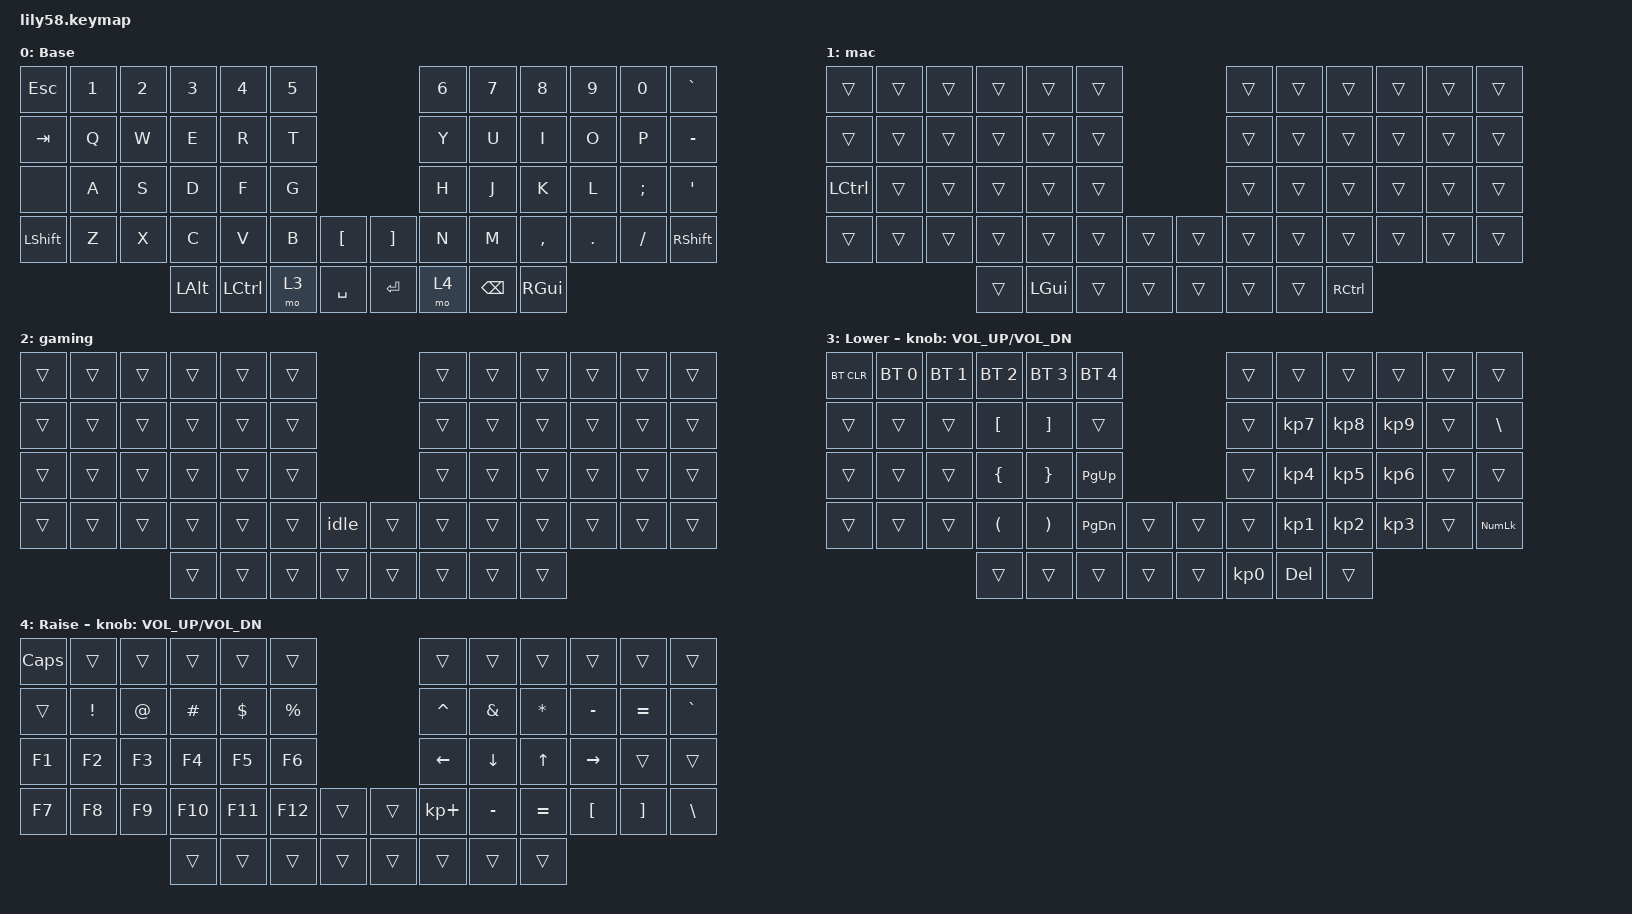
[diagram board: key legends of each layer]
/*
 * Copyright (c) 2020 The ZMK Contributors
 *
 * SPDX-License-Identifier: MIT
 */

#include <behaviors.dtsi>
#include <dt-bindings/zmk/bt.h>
#include <dt-bindings/zmk/keys.h>

/ {
    combos {
        compatible = "zmk,combos";

        windows {
            bindings = <&windows>;
            key-positions = <49 1>;
        };

        mac {
            bindings = <&mac>;
            key-positions = <49 2>;
        };

        gaming {
            bindings = <&tog 2>;
            key-positions = <49 3>;
        };
    };

    macros {
        windows: windows {
            compatible = "zmk,behavior-macro";
            #binding-cells = <0>;
            bindings = <&macro_tap>, <&to 0 &bt BT_SEL 0>;

            label = "WINDOWS";
            wait-ms = <0>;
        };

        mac: mac {
            compatible = "zmk,behavior-macro";
            #binding-cells = <0>;
            bindings = <&macro_tap>, <&tog 1 &bt BT_SEL 1>;

            label = "MAC";
        };

        idle: idle {
            compatible = "zmk,behavior-macro";
            #binding-cells = <0>;
            bindings = <&kp A &kp D &kp A &kp D &kp A &kp S &kp S &kp S &kp W &kp D &kp W &kp W &kp S &kp D &kp W &kp S &kp W &kp D &kp W &kp S &kp D &kp W &kp A &kp A &kp S &kp A &kp S &kp A &kp S &kp D &idle>;
            label = "IDLE";
            wait-ms = <2000>;
            tap-ms = <500>;
        };
    };

    keymap {
        compatible = "zmk,keymap";

        default_layer {
            // ------------------------------------------------------------------------------------------------------------
            // |  ESC  |  1  |  2  |  3   |  4   |  5   |                   |  6   |  7    |  8    |  9   |   0   |   `   |
            // |  TAB  |  Q  |  W  |  E   |  R   |  T   |                   |  Y   |  U    |  I    |  O   |   P   |   -   |
            // |  CTRL |  A  |  S  |  D   |  F   |  G   |                   |  H   |  J    |  K    |  L   |   ;   |   '   |
            // | SHIFT |  Z  |  X  |  C   |  V   |  B   |   "["  |  |  "]"  |  N   |  M    |  ,    |  .   |   /   | SHIFT |
            //                     | ALT  | GUI  | LOWER|  SPACE |  | ENTER | RAISE| BSPC  | GUI   |

            display-name = "Base";
            bindings = <
&kp ESC         &kp N1  &kp N2  &kp N3    &kp N4     &kp N5                         &kp N6  &kp N7    &kp N8     &kp N9   &kp N0    &kp GRAVE
&kp TAB         &kp Q   &kp W   &kp E     &kp R      &kp T                          &kp Y   &kp U     &kp I      &kp O    &kp P     &kp MINUS
&none           &kp A   &kp S   &kp D     &kp F      &kp G                          &kp H   &kp J     &kp K      &kp L    &kp SEMI  &kp SQT
&kp LEFT_SHIFT  &kp Z   &kp X   &kp C     &kp V      &kp B   &kp LBKT     &kp RBKT  &kp N   &kp M     &kp COMMA  &kp DOT  &kp FSLH  &kp RSHFT
                                &kp LALT  &kp LCTRL  &mo 3   &kp SPACE    &kp RET   &mo 4   &kp BSPC  &kp RGUI
            >;
        };

        mac {
            display-name = "mac";
            bindings = <
&trans            &trans  &trans  &trans  &trans    &trans                    &trans  &trans  &trans     &trans  &trans  &trans
&trans            &trans  &trans  &trans  &trans    &trans                    &trans  &trans  &trans     &trans  &trans  &trans
&kp LEFT_CONTROL  &trans  &trans  &trans  &trans    &trans                    &trans  &trans  &trans     &trans  &trans  &trans
&trans            &trans  &trans  &trans  &trans    &trans  &trans    &trans  &trans  &trans  &trans     &trans  &trans  &trans
                                  &trans  &kp LGUI  &trans  &trans    &trans  &trans  &trans  &kp RCTRL
            >;
        };

        gaming {
            display-name = "gaming";
            bindings = <
&trans  &trans  &trans  &trans  &trans  &trans                    &trans  &trans  &trans  &trans  &trans  &trans
&trans  &trans  &trans  &trans  &trans  &trans                    &trans  &trans  &trans  &trans  &trans  &trans
&trans  &trans  &trans  &trans  &trans  &trans                    &trans  &trans  &trans  &trans  &trans  &trans
&trans  &trans  &trans  &trans  &trans  &trans  &idle     &trans  &trans  &trans  &trans  &trans  &trans  &trans
                        &trans  &trans  &trans  &trans    &trans  &trans  &trans  &trans
            >;
        };

        lower_layer {
            // ------------------------------------------------------------------------------------------------------------
            // | BTCLR | BT1 | BT2 |  BT3 |  BT4 |  BT5 |                   |      |       |       |      |       |       |
            // |  F1   |  F2 |  F3 |  F4  |  F5  |  F6  |                   |  F7  |  F8   |  F9   |  F10 |  F11  |  F12  |
            // |   `   |  !  |  @  |  #   |  $   |  %   |                   |  ^   |  &    |  *    |  (   |   )   |   ~   |
            // |       |     |     |      |      |      |        |  |       |      |  _    |  +    |  {   |   }   |  "|"  |
            //                     |      |      |      |        |  |       |      |       |       |

            display-name = "Lower";
            bindings = <
&bt BT_CLR  &bt BT_SEL 0  &bt BT_SEL 1  &bt BT_SEL 2          &bt BT_SEL 3           &bt BT_SEL 4                     &trans           &trans           &trans           &trans           &trans  &trans
&trans      &trans        &trans        &kp LEFT_BRACKET      &kp RIGHT_BRACKET      &trans                           &trans           &kp KP_NUMBER_7  &kp KP_NUMBER_8  &kp KP_NUMBER_9  &trans  &kp BACKSLASH
&trans      &trans        &trans        &kp LEFT_BRACE        &kp RIGHT_BRACE        &kp PAGE_UP                      &trans           &kp KP_NUMBER_4  &kp KP_NUMBER_5  &kp KP_NUMBER_6  &trans  &trans
&trans      &trans        &trans        &kp LEFT_PARENTHESIS  &kp RIGHT_PARENTHESIS  &kp PAGE_DOWN  &trans    &trans  &trans           &kp KP_NUMBER_1  &kp KP_NUMBER_2  &kp KP_NUMBER_3  &trans  &kp KP_NUMLOCK
                                        &trans                &trans                 &trans         &trans    &trans  &kp KP_NUMBER_0  &kp DEL          &trans
            >;

            sensor-bindings = <&inc_dec_kp C_VOL_UP C_VOL_DN>;
        };

        raise_layer {
            // ------------------------------------------------------------------------------------------------------------
            // |       |     |     |      |      |      |                   |      |       |       |      |       |       |
            // |   `   |  1  |  2  |  3   |  4   |  5   |                   |  6   |   7   |   8   |  9   |   0   |       |
            // |   F1  |  F2 |  F3 |  F4  |  F5  |  F6  |                   |      |   <-  |   v   |  ^   |  ->   |       |
            // |   F7  |  F8 |  F9 |  F10 |  F11 |  F12 |        |  |       |  +   |   -   |   =   |  [   |   ]   |   \   |
            //                     |      |      |      |        |  |       |      |       |       |

            display-name = "Raise";
            bindings = <
&kp CAPSLOCK  &trans           &trans       &trans    &trans      &trans                         &trans          &trans          &trans        &trans           &trans     &trans
&trans        &kp EXCLAMATION  &kp AT_SIGN  &kp HASH  &kp DOLLAR  &kp PERCENT                    &kp CARET       &kp AMPERSAND   &kp ASTERISK  &kp MINUS        &kp EQUAL  &kp GRAVE
&kp F1        &kp F2           &kp F3       &kp F4    &kp F5      &kp F6                         &kp LEFT_ARROW  &kp DOWN_ARROW  &kp UP_ARROW  &kp RIGHT_ARROW  &trans     &trans
&kp F7        &kp F8           &kp F9       &kp F10   &kp F11     &kp F12      &trans    &trans  &kp KP_PLUS     &kp MINUS       &kp EQUAL     &kp LBKT         &kp RBKT   &kp BSLH
                                            &trans    &trans      &trans       &trans    &trans  &trans          &trans          &trans
            >;

            sensor-bindings = <&inc_dec_kp C_VOL_UP C_VOL_DN>;
        };

        extra_1 { status = "reserved"; };

        extra_2 { status = "reserved"; };

        extra_3 { status = "reserved"; };
    };
};
